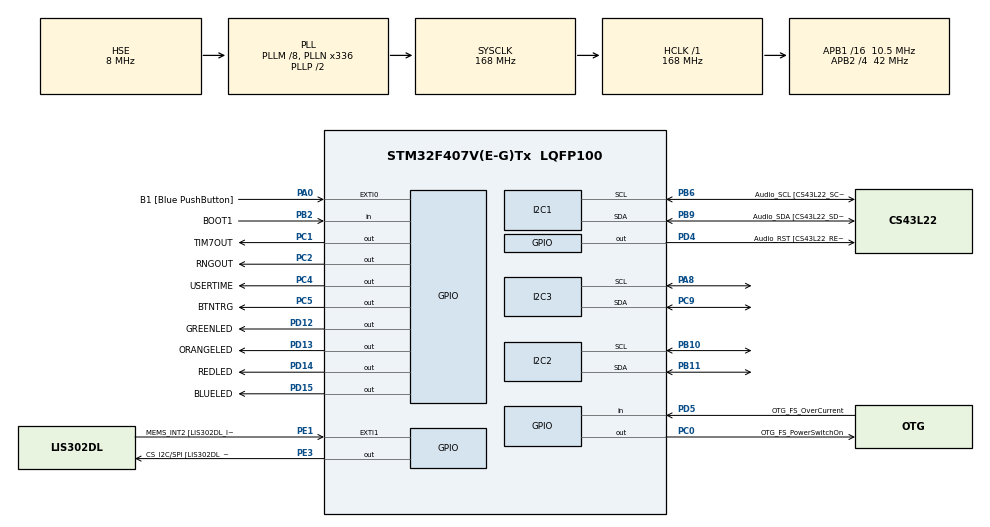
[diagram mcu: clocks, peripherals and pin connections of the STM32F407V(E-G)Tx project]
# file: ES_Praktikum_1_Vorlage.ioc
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Mcu.Family=STM32F4
Mcu.Name=STM32F407V(E-G)Tx
Mcu.Package=LQFP100
NVIC.EXTI0_IRQn=true\:1\:0\:true\:false\:true\:true\:true\:true
NVIC.PriorityGroup=NVIC_PRIORITYGROUP_2
NVIC.TIM6_DAC_IRQn=true\:2\:0\:true\:false\:true\:true\:true\:true
NVIC.TIM7_IRQn=true\:3\:0\:true\:false\:true\:true\:true\:true
PA0-WKUP.GPIO_Label=B1 [Blue PushButton]
PA0-WKUP.GPIO_ModeDefaultEXTI=GPIO_MODE_IT_RISING
PA0-WKUP.GPIO_PuPd=GPIO_NOPULL
PA0-WKUP.Signal=GPXTI0
PA10.GPIO_Label=OTG_FS_ID
PA10.GPIO_Mode=GPIO_MODE_AF_PP
PA10.GPIO_PuPd=GPIO_NOPULL
PA10.GPIO_Speed=GPIO_SPEED_FREQ_LOW
PA10.Signal=USB_OTG_FS_ID
PA11.GPIO_Label=OTG_FS_DM
PA11.GPIO_Mode=GPIO_MODE_AF_PP
PA11.GPIO_PuPd=GPIO_NOPULL
PA11.GPIO_Speed=GPIO_SPEED_FREQ_LOW
PA11.Signal=USB_OTG_FS_DM
PA12.GPIO_Label=OTG_FS_DP
PA12.GPIO_Mode=GPIO_MODE_AF_PP
PA12.GPIO_PuPd=GPIO_NOPULL
PA12.GPIO_Speed=GPIO_SPEED_FREQ_LOW
PA12.Signal=USB_OTG_FS_DP
PA13.GPIO_Label=SWDIO
PA13.Mode=Serial_Wire
PA13.Signal=SYS_JTMS-SWDIO
PA14.GPIO_Label=SWCLK
PA14.Mode=Serial_Wire
PA14.Signal=SYS_JTCK-SWCLK
PA4.GPIO_Label=I2S3_WS [CS43L22_LRCK]
PA4.GPIO_Mode=GPIO_MODE_AF_PP
PA4.GPIO_PuPd=GPIO_NOPULL
PA4.GPIO_Speed=GPIO_SPEED_FREQ_LOW
PA4.Signal=I2S3_WS
PA5.GPIO_Label=SPI1_SCK [LIS302DL_SCL/SPC]
PA5.GPIO_Mode=GPIO_MODE_AF_PP
PA5.GPIO_PuPd=GPIO_NOPULL
PA5.GPIO_Speed=GPIO_SPEED_FREQ_LOW
PA5.Signal=SPI1_SCK
PA6.GPIO_Label=SPI1_MISO [LIS302DL_SDO]
PA6.GPIO_Mode=GPIO_MODE_AF_PP
PA6.GPIO_PuPd=GPIO_NOPULL
PA6.GPIO_Speed=GPIO_SPEED_FREQ_LOW
PA6.Signal=SPI1_MISO
PA7.GPIO_Label=SPI1_MOSI [LIS302DL_SDA/SDI/SDO]
PA7.GPIO_Mode=GPIO_MODE_AF_PP
PA7.GPIO_PuPd=GPIO_NOPULL
PA7.GPIO_Speed=GPIO_SPEED_FREQ_LOW
PA7.Signal=SPI1_MOSI
PA8.GPIO_Pu=GPIO_PULLUP
PA8.Mode=I2C
PA8.Signal=I2C3_SCL
PA9.GPIO_Label=VBUS_FS
PA9.GPIO_Mode=GPIO_MODE_INPUT
PA9.GPIO_PuPd=GPIO_NOPULL
PA9.Signal=USB_OTG_FS_VBUS
PB10.GPIO_Pu=GPIO_PULLUP
PB10.Mode=I2C
PB10.Signal=I2C2_SCL
PB11.GPIO_Pu=GPIO_PULLUP
PB11.Mode=I2C
PB11.Signal=I2C2_SDA
PB2.GPIO_Label=BOOT1
PB2.GPIO_Mode=GPIO_MODE_INPUT
PB2.GPIO_PuPd=GPIO_NOPULL
PB2.Signal=GPIO_Input
PB3.GPIO_Label=SWO
PB3.Signal=SYS_JTDO-SWO
PB6.GPIO_Label=Audio_SCL [CS43L22_SCL]
PB6.GPIO_Mode=GPIO_MODE_AF_OD
PB6.GPIO_Pu=GPIO_PULLUP
PB6.GPIO_PuPd=GPIO_NOPULL
PB6.GPIO_Speed=GPIO_SPEED_FREQ_LOW
PB6.Mode=I2C
PB6.Signal=I2C1_SCL
PB9.GPIO_Label=Audio_SDA [CS43L22_SDA]
PB9.GPIO_Mode=GPIO_MODE_AF_OD
PB9.GPIO_Pu=GPIO_PULLUP
PB9.GPIO_PuPd=GPIO_NOPULL
PB9.GPIO_Speed=GPIO_SPEED_FREQ_LOW
PB9.Mode=I2C
PB9.Signal=I2C1_SDA
PC0.GPIO_Label=OTG_FS_PowerSwitchOn
PC0.GPIO_PuPd=GPIO_NOPULL
PC0.GPIO_Speed=GPIO_SPEED_FREQ_LOW
PC0.PinState=GPIO_PIN_SET
PC0.Signal=GPIO_Output
PC1.GPIO_Label=TIM7OUT
PC1.Signal=GPIO_Output
PC10.GPIO_Label=I2S3_SCK [CS43L22_SCLK]
PC10.GPIO_Mode=GPIO_MODE_AF_PP
PC10.GPIO_PuPd=GPIO_NOPULL
PC10.GPIO_Speed=GPIO_SPEED_FREQ_LOW
PC10.Signal=I2S3_CK
PC12.GPIO_Label=I2S3_SD [CS43L22_SDIN]
PC12.GPIO_Mode=GPIO_MODE_AF_PP
PC12.GPIO_PuPd=GPIO_NOPULL
PC12.GPIO_Speed=GPIO_SPEED_FREQ_LOW
PC12.Signal=I2S3_SD
PC14-OSC32_IN.GPIO_Label=PC14-OSC32_IN
PC14-OSC32_IN.Mode=LSE-External-Oscillator
PC14-OSC32_IN.Signal=RCC_OSC32_IN
PC15-OSC32_OUT.GPIO_Label=PC15-OSC32_OUT
PC15-OSC32_OUT.Mode=LSE-External-Oscillator
PC15-OSC32_OUT.Signal=RCC_OSC32_OUT
PC2.GPIO_Label=RNGOUT
PC2.Signal=GPIO_Output
PC3.GPIO_Label=PDM_OUT [MP45DT02_DOUT]
PC3.GPIO_Mode=GPIO_MODE_AF_PP
PC3.GPIO_PuPd=GPIO_NOPULL
PC3.GPIO_Speed=GPIO_SPEED_FREQ_LOW
PC3.Signal=I2S2_SD
PC4.GPIO_Label=USERTIME
PC4.Signal=GPIO_Output
PC5.GPIO_Label=BTNTRG
PC5.Signal=GPIO_Output
PC7.GPIO_Label=I2S3_MCK [CS43L22_MCLK]
PC7.GPIO_Mode=GPIO_MODE_AF_PP
PC7.GPIO_PuPd=GPIO_NOPULL
PC7.GPIO_Speed=GPIO_SPEED_FREQ_LOW
PC7.Signal=I2S3_MCK
PC9.GPIO_Pu=GPIO_PULLUP
PC9.Mode=I2C
PC9.Signal=I2C3_SDA
PD12.GPIO_Label=GREENLED
PD12.GPIO_PuPd=GPIO_NOPULL
PD12.GPIO_Speed=GPIO_SPEED_FREQ_LOW
PD12.Signal=GPIO_Output
PD13.GPIO_Label=ORANGELED
PD13.GPIO_PuPd=GPIO_NOPULL
PD13.GPIO_Speed=GPIO_SPEED_FREQ_LOW
PD13.Signal=GPIO_Output
PD14.GPIO_Label=REDLED
PD14.GPIO_PuPd=GPIO_NOPULL
PD14.GPIO_Speed=GPIO_SPEED_FREQ_LOW
PD14.Signal=GPIO_Output
PD15.GPIO_Label=BLUELED
PD15.GPIO_PuPd=GPIO_NOPULL
PD15.GPIO_Speed=GPIO_SPEED_FREQ_LOW
PD15.Signal=GPIO_Output
PD4.GPIO_Label=Audio_RST [CS43L22_RESET]
PD4.GPIO_PuPd=GPIO_NOPULL
PD4.GPIO_Speed=GPIO_SPEED_FREQ_LOW
PD4.Signal=GPIO_Output
PD5.GPIO_Label=OTG_FS_OverCurrent
PD5.GPIO_Mode=GPIO_MODE_INPUT
PD5.GPIO_PuPd=GPIO_NOPULL
PD5.Signal=GPIO_Input
PE1.GPIO_Label=MEMS_INT2 [LIS302DL_INT2]
PE1.GPIO_ModeDefaultEXTI=GPIO_MODE_EVT_RISING
PE1.GPIO_PuPd=GPIO_NOPULL
PE1.Signal=GPXTI1
PE3.GPIO_Label=CS_I2C/SPI [LIS302DL_CS_I2C/SPI]
PE3.GPIO_PuPd=GPIO_NOPULL
PE3.GPIO_Speed=GPIO_SPEED_FREQ_LOW
PE3.Signal=GPIO_Output
PH0-OSC_IN.GPIO_Label=PH0-OSC_IN
PH0-OSC_IN.Mode=HSE-External-Oscillator
PH0-OSC_IN.Signal=RCC_OSC_IN
PH1-OSC_OUT.GPIO_Label=PH1-OSC_OUT
PH1-OSC_OUT.Mode=HSE-External-Oscillator
PH1-OSC_OUT.Signal=RCC_OSC_OUT
ProjectManager.HeapSize=0x200
ProjectManager.StackSize=0x400
ProjectManager.TargetToolchain=STM32CubeIDE
RCC.48MHZClocksFreq_Value=48000000
RCC.AHBFreq_Value=168000000
RCC.APB1CLKDivider=RCC_HCLK_DIV16
RCC.APB1Freq_Value=10500000
RCC.APB1TimFreq_Value=21000000
RCC.APB2CLKDivider=RCC_HCLK_DIV4
RCC.APB2Freq_Value=42000000
RCC.APB2TimFreq_Value=84000000
RCC.CortexFreq_Value=168000000
RCC.HCLKFreq_Value=168000000
RCC.HSE_VALUE=8000000
RCC.HSI_VALUE=16000000
RCC.PLLM=8
RCC.PLLN=336
RCC.PLLQ=7
RCC.PLLSourceVirtual=RCC_PLLSOURCE_HSE
RCC.SYSCLKFreq_VALUE=168000000
RCC.SYSCLKSource=RCC_SYSCLKSOURCE_PLLCLK
RCC.VCOOutputFreq_Value=336000000
TIM6.AutoReloadPreload=TIM_AUTORELOAD_PRELOAD_ENABLE
TIM6.Period=0
TIM6.Prescaler=1060
TIM7.Period=10
TIM7.Prescaler=2000
VP_RNG_VS_RNG.Mode=RNG_Activate
VP_TIM6_VS_ClockSourceINT.Mode=Enable_Timer
VP_TIM7_VS_ClockSourceINT.Mode=Enable_Timer
board=STM32F407G-DISC1

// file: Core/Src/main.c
/* USER CODE BEGIN Header */
/**
 ******************************************************************************
 * @file           : main.c
 * @brief          : Main program body
 ******************************************************************************
 * @attention
 *
 * <h2><center>&copy; Copyright (c) 2021 STMicroelectronics.
 * All rights reserved.</center></h2>
 *
 * This software component is licensed by ST under Ultimate Liberty license
 * SLA0044, the "License"; You may not use this file except in compliance with
 * the License. You may obtain a copy of the License at:
 *                             www.st.com/SLA0044
 *
 ******************************************************************************
 */
/* USER CODE END Header */
#include "main.h"
#include "i2c.h"
#include "rng.h"
#include "tim.h"
#include "gpio.h"

/* USER CODE BEGIN Includes */
#include <stdio.h>
/* USER CODE END Includes */

/* USER CODE BEGIN PD */
#define MAX_RND_VALUE 40000
#define MIN_RND_VALUE  5000
/* USER CODE END PD */

/* USER CODE BEGIN PV */
uint8_t status = 0;
uint32_t reaction_time_in_ms = 0;
/* USER CODE END PV */

void SystemClock_Config(void);

int main(void)
{

  /* MCU Configuration--------------------------------------------------------*/

  /* Reset of all peripherals, Initializes the Flash interface and the Systick. */
  HAL_Init();

  /* Configure the system clock */
  SystemClock_Config();

  /* Initialize all configured peripherals */
  MX_GPIO_Init();
  MX_I2C1_Init();
  MX_RNG_Init();
  MX_TIM6_Init();
  MX_TIM7_Init();
  MX_I2C2_Init();
  MX_I2C3_Init();
  /* USER CODE BEGIN 2 */
  // Settings for LCD-display via I2C
  LCD_Handle_t lcd_handle;
  lcd_handle.Slave_address = 0x4E;
  lcd_handle.i2c_handle = &hi2c1;
  lcd_handle.bg = 1;
  lcd_init(&lcd_handle);

  // Print welcome message
  char* text = "Willkommen in Embedded Software!\0";
  uint32_t delayValue = 100;
  printText(&lcd_handle, text, delayValue);
  reaction_time_in_ms = 0;
  /* USER CODE END 2 */

  /* Infinite loop */
  /* USER CODE BEGIN WHILE */
//  status = STATUS_RANDOM_TIMER_READY;
	while (1)
	{
    /* USER CODE END WHILE */

    /* USER CODE BEGIN 3 */

		switch(status){

		case STATUS_START_NEW_GAME:
			printText(&lcd_handle, "Starting Game!", delayValue);
			startNewGame();
			break;

		case STATUS_RANDOM_TIMER_READY:
			printText(&lcd_handle, "Get ready! ... ", delayValue);
			start_random_timer();
			break;
		case STATUS_RANDOM_TIMER_RUNNING:
			// Nothing to do :-)
			break;

		case STATUS_RANDOM_TIMER_EXPIRED:
			//STOP TIMER 6
			HAL_TIM_Base_Stop_IT(&htim6);
			//PRINT MSG
			printText(&lcd_handle, "Go!", delayValue);
			status = STATUS_MEASURE_REACTION_TIME;
			//SET LED
			HAL_GPIO_WritePin(REDLED_GPIO_Port, REDLED_Pin, GPIO_PIN_SET);

#ifdef DEBUG
			HAL_GPIO_WritePin(USERTIME_GPIO_Port, USERTIME_Pin, GPIO_PIN_SET);
#endif

#ifdef DEBUG
			HAL_GPIO_WritePin(BTNTRG_GPIO_Port, BTNTRG_Pin, GPIO_PIN_SET);
#endif
			//START MEASUREMENT TIMER
			HAL_TIM_Base_Start_IT(&htim7);

			break;

		case STATUS_MEASUREMENT_DONE:
			HAL_TIM_Base_Stop_IT(&htim7);

#ifdef DEBUG
			HAL_GPIO_WritePin(USERTIME_GPIO_Port, USERTIME_Pin, GPIO_PIN_RESET);
#endif

#ifdef DEBUG
			HAL_GPIO_WritePin(BTNTRG_GPIO_Port, BTNTRG_Pin, GPIO_PIN_SET);
#endif
			//reaction_time_in_ms = htim7.Instance->CNT / 10;
			//Switch off all LEDs
			switch_all_leds(DISABLE, 0);
			// Wait until showing the result.
			HAL_Delay(500);
			char textBuffer[32] = {0};
			//SWITCH LEDS OFF
			switch_all_leds(DISABLE, 0);
			//SWITCH DEPENDING SPEED
			if(reaction_time_in_ms < 500){
				snprintf (textBuffer, 32, "Time: %4u ms.  Well done!", (uint16_t) reaction_time_in_ms);
				HAL_GPIO_WritePin(GREENLED_GPIO_Port, GREENLED_Pin, GPIO_PIN_SET);
			}else if(reaction_time_in_ms >= 500 && reaction_time_in_ms <= 1000){
				snprintf (textBuffer, 32, "Time: %4u ms.  Okay!", (uint16_t) reaction_time_in_ms);
				HAL_GPIO_WritePin(ORANGELED_GPIO_Port, ORANGELED_Pin, GPIO_PIN_SET);
			}else{
				snprintf (textBuffer, 32, "Time: %4u ms.  Are you asleep?", (uint16_t) reaction_time_in_ms);
				HAL_GPIO_WritePin(REDLED_GPIO_Port, REDLED_Pin, GPIO_PIN_SET);
			}

			printText(&lcd_handle, textBuffer, delayValue);

			HAL_Delay(500);
			//STAQRT NEW GAME
			status =STATUS_START_NEW_GAME;
			break;

		case STATUS_INVALID_MEASUREMENT:

			printText(&lcd_handle, "Invalid Measurement!", delayValue);

			for(int i = 0; i < 4; i++){
				switch_all_leds(ENABLE, 0);
				HAL_Delay(500);
				switch_all_leds(DISABLE, 0);
				HAL_Delay(500);
			}
			HAL_Delay(3000);
			status = STATUS_START_NEW_GAME;
			break;
		}
	}
  /* USER CODE END 3 */
}

void SystemClock_Config(void)
{
  RCC_OscInitTypeDef RCC_OscInitStruct = {0};
  RCC_ClkInitTypeDef RCC_ClkInitStruct = {0};

  /** Configure the main internal regulator output voltage
  */
  __HAL_RCC_PWR_CLK_ENABLE();
  __HAL_PWR_VOLTAGESCALING_CONFIG(PWR_REGULATOR_VOLTAGE_SCALE1);

  /** Initializes the RCC Oscillators according to the specified parameters
  * in the RCC_OscInitTypeDef structure.
  */
  RCC_OscInitStruct.OscillatorType = RCC_OSCILLATORTYPE_HSE;
  RCC_OscInitStruct.HSEState = RCC_HSE_ON;
  RCC_OscInitStruct.PLL.PLLState = RCC_PLL_ON;
  RCC_OscInitStruct.PLL.PLLSource = RCC_PLLSOURCE_HSE;
  RCC_OscInitStruct.PLL.PLLM = 8;
  RCC_OscInitStruct.PLL.PLLN = 336;
  RCC_OscInitStruct.PLL.PLLP = RCC_PLLP_DIV2;
  RCC_OscInitStruct.PLL.PLLQ = 7;
  if (HAL_RCC_OscConfig(&RCC_OscInitStruct) != HAL_OK)
  {
    Error_Handler();
  }

  /** Initializes the CPU, AHB and APB buses clocks
  */
  RCC_ClkInitStruct.ClockType = RCC_CLOCKTYPE_HCLK|RCC_CLOCKTYPE_SYSCLK
                              |RCC_CLOCKTYPE_PCLK1|RCC_CLOCKTYPE_PCLK2;
  RCC_ClkInitStruct.SYSCLKSource = RCC_SYSCLKSOURCE_PLLCLK;
  RCC_ClkInitStruct.AHBCLKDivider = RCC_SYSCLK_DIV1;
  RCC_ClkInitStruct.APB1CLKDivider = RCC_HCLK_DIV16;
  RCC_ClkInitStruct.APB2CLKDivider = RCC_HCLK_DIV4;

  if (HAL_RCC_ClockConfig(&RCC_ClkInitStruct, FLASH_LATENCY_5) != HAL_OK)
  {
    Error_Handler();
  }
}

/* USER CODE BEGIN 4 */
void start_random_timer(){

	//GET RANDOM NUMBER
	uint32_t rng = 0;
	HAL_RNG_GenerateRandomNumber(&hrng, &rng);
	//MAP 0-65536 => MIN_RND_VALUE-MAX_RND_VALUE
	rng =  ((uint16_t)rng) * ((MAX_RND_VALUE - MIN_RND_VALUE)/65535) + MIN_RND_VALUE;

	//SET PERIOD
	//START TIMER FIRST => INIT AGAIN WITH NEW PERIOD
	HAL_TIM_Base_Start_IT(&htim6);
	htim6.Init.Period = rng;
	//htim6.Instance->CNT = 0;
	//htim6.Instance->ARR  = MAX_RND_VALUE;
	HAL_TIM_Base_Init(&htim6);

	//SET STATE
	HAL_GPIO_WritePin(BLUELED_GPIO_Port, BLUELED_Pin,GPIO_PIN_SET);
#ifdef DEBUG
			HAL_GPIO_WritePin(RNGOUT_GPIO_Port, RNGOUT_Pin, GPIO_PIN_SET);
#endif
	status = STATUS_RANDOM_TIMER_RUNNING;

}

void switch_all_leds(uint8_t ENorDI, uint32_t delay_value){

	if(delay_value <= 0){
		HAL_GPIO_WritePin(GREENLED_GPIO_Port, GREENLED_Pin, ENorDI);
		HAL_GPIO_WritePin(ORANGELED_GPIO_Port, ORANGELED_Pin, ENorDI);
		HAL_GPIO_WritePin(REDLED_GPIO_Port, REDLED_Pin, ENorDI);
		HAL_GPIO_WritePin(BLUELED_GPIO_Port, BLUELED_Pin, ENorDI);
	}else{

		//SWITCH SEQUENCE
		HAL_GPIO_WritePin(GREENLED_GPIO_Port, GREENLED_Pin, ENorDI);
		HAL_Delay(delay_value);
		HAL_GPIO_WritePin(ORANGELED_GPIO_Port, ORANGELED_Pin, ENorDI);
		HAL_Delay(delay_value);
		HAL_GPIO_WritePin(REDLED_GPIO_Port, REDLED_Pin, ENorDI);
		HAL_Delay(delay_value);
		HAL_GPIO_WritePin(BLUELED_GPIO_Port, BLUELED_Pin, ENorDI);
		HAL_Delay(delay_value);
	}
}

void led_new_game(){
	//Switch on LEDs (LD4,LD3,LD5,LD6 subsequently with a delay of 500 ms)
	switch_all_leds(ENABLE, 500);
	// Switch all LEDs off without delay
	switch_all_leds(DISABLE,0);
	//Switch blue LED on to indicate that the game ist starting.
}

void startNewGame(){
	led_new_game();
	status = STATUS_RANDOM_TIMER_READY;
	reaction_time_in_ms = 0;
}
/* USER CODE END 4 */

void Error_Handler(void)
{
	__disable_irq();
	while (1)
	{
	}
}
